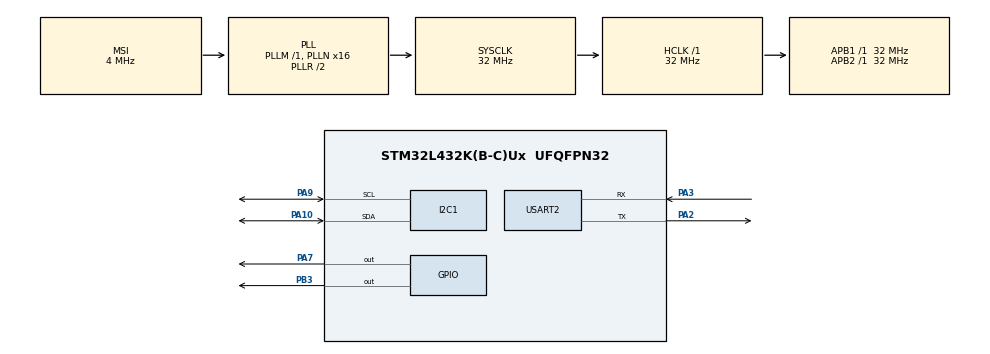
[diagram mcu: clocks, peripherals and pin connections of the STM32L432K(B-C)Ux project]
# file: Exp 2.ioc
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I2C1.Timing=0x00707CBB
Mcu.Family=STM32L4
Mcu.Name=STM32L432K(B-C)Ux
Mcu.Package=UFQFPN32
NVIC.PriorityGroup=NVIC_PRIORITYGROUP_4
PA10.Mode=I2C
PA10.Signal=I2C1_SDA
PA13\ (JTMS-SWDIO).Mode=Serial_Wire
PA13\ (JTMS-SWDIO).Signal=SYS_JTMS-SWDIO
PA14\ (JTCK-SWCLK).Mode=Serial_Wire
PA14\ (JTCK-SWCLK).Signal=SYS_JTCK-SWCLK
PA2.Mode=Asynchronous
PA2.Signal=USART2_TX
PA3.Mode=Asynchronous
PA3.Signal=USART2_RX
PA7.Signal=GPIO_Output
PA9.Mode=I2C
PA9.Signal=I2C1_SCL
PB3\ (JTDO-TRACESWO).Signal=GPIO_Output
PC14-OSC32_IN\ (PC14).Mode=LSE-External-Oscillator
PC14-OSC32_IN\ (PC14).Signal=RCC_OSC32_IN
PC15-OSC32_OUT\ (PC15).Mode=LSE-External-Oscillator
PC15-OSC32_OUT\ (PC15).Signal=RCC_OSC32_OUT
ProjectManager.HeapSize=0x200
ProjectManager.StackSize=0x400
ProjectManager.TargetToolchain=MDK-ARM V5
RCC.AHBFreq_Value=32000000
RCC.APB1Freq_Value=32000000
RCC.APB1TimFreq_Value=32000000
RCC.APB2Freq_Value=32000000
RCC.APB2TimFreq_Value=32000000
RCC.CortexFreq_Value=32000000
RCC.HCLKFreq_Value=32000000
RCC.HSE_VALUE=8000000
RCC.HSI48_VALUE=48000000
RCC.HSI_VALUE=16000000
RCC.MSI_VALUE=4000000
RCC.PLLN=16
RCC.SYSCLKFreq_VALUE=32000000
RCC.SYSCLKSource=RCC_SYSCLKSOURCE_PLLCLK
RCC.VCOOutputFreq_Value=64000000
USART2.VirtualMode-Asynchronous=VM_ASYNC
board=custom

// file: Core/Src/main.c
/* USER CODE BEGIN Header */
/**
  ******************************************************************************
  * @file           : main.c
  * @brief          : Main program body
  ******************************************************************************
  * @attention
  *
  * <h2><center>&copy; Copyright (c) 2021 STMicroelectronics.
  * All rights reserved.</center></h2>
  *
  * This software component is licensed by ST under BSD 3-Clause license,
  * the "License"; You may not use this file except in compliance with the
  * License. You may obtain a copy of the License at:
  *                        opensource.org/licenses/BSD-3-Clause
  *
  ******************************************************************************
  */
/* USER CODE END Header */
#include "main.h"

I2C_HandleTypeDef hi2c1;

UART_HandleTypeDef huart2;

void SystemClock_Config(void);
static void MX_GPIO_Init(void);
static void MX_I2C1_Init(void);
static void MX_USART2_UART_Init(void);

/* USER CODE BEGIN 0 */
uint8_t hexToAscii(uint8_t n)//4-bit hex value converted to an ascii character
{
 if (n>=0 && n<=9) n = n + '0';
 else n = n - 10 + 'A';
 return n;
}
/* USER CODE END 0 */
int main(void)
{
 HAL_Init();
 SystemClock_Config();
 MX_GPIO_Init();
 MX_I2C1_Init();
 MX_USART2_UART_Init();
 /* USER CODE BEGIN 2 */
 //check that device is ready to operate
 if (HAL_I2C_IsDeviceReady(&hi2c1, 0xD0, 10, HAL_MAX_DELAY) == HAL_OK)
 {
 for (int i = 1; i<=10;i++) // indicator of ready device
 {
 HAL_GPIO_TogglePin(GPIOB, GPIO_PIN_3);
 HAL_Delay(250);
 }
 }

 //Transmit via I2C to set clock
 uint8_t secbuffer [2], minbuffer [2], hourbuffer [2], alarmsecbuffer[2], alarmminbuffer[2], alarmhourbuffer[2], control[2], status[2];

 control[0] = 0x0E;
 control[1] = 0x1d;
 HAL_I2C_Master_Transmit(&hi2c1, 0xD0, control, 2, 10);

 status[0] = 0x0F;
 status[1] = 0x88;
 HAL_I2C_Master_Transmit(&hi2c1, 0xD0, status, 2, 10);

 // seconds
 secbuffer[0] = 0x00; //register address
 secbuffer[1] = 0x00; //data to put in register --> 0 sec
 HAL_I2C_Master_Transmit(&hi2c1, 0xD0, secbuffer, 2, 10);
 // minutes
 minbuffer[0] = 0x01; //register address
 minbuffer[1] = 0x45; //data to put in register --> 15 min
 HAL_I2C_Master_Transmit(&hi2c1, 0xD0, minbuffer, 2, 10);
 // hours
 hourbuffer[0] = 0x02; //register address
 hourbuffer[1] = 0x50; //data to put in register 01001001 --> 7 am
 HAL_I2C_Master_Transmit(&hi2c1, 0xD0, hourbuffer, 2, 10);
 //Receive via I2C and forward to UART

 alarmsecbuffer[0] = 0x07;
 alarmsecbuffer[1] = 0x00;
 HAL_I2C_Master_Transmit(&hi2c1, 0xD0, alarmsecbuffer, 2, 10);

 alarmminbuffer[0] = 0x08;
 alarmminbuffer[1] = 0x46;
 HAL_I2C_Master_Transmit(&hi2c1, 0xD0, alarmminbuffer, 2, 10);

 alarmhourbuffer[0] = 0x09;
 alarmhourbuffer[1] = 0x50;
 HAL_I2C_Master_Transmit(&hi2c1, 0xD0, alarmhourbuffer, 2, 10);

 uint8_t out[] = {0,0,':',0,0,':',0,0,'\r','\n'};
 while (1)
 {
 //send seconds register address 00h to read from
 HAL_I2C_Master_Transmit(&hi2c1, 0xD0, secbuffer, 1, 10);
 //read data of register 00h to secbuffer[1]
 HAL_I2C_Master_Receive(&hi2c1, 0xD1, secbuffer+1, 1, 10);
 //prepare UART output
 out[6] = hexToAscii(secbuffer[1] >> 4 );
 out[7] = hexToAscii(secbuffer[1] & 0x0F );
 HAL_I2C_Master_Transmit(&hi2c1, 0xD0, minbuffer, 1, 10);
 HAL_I2C_Master_Receive(&hi2c1, 0xD1, minbuffer+1, 1, 10);
 out[3] = hexToAscii(minbuffer[1] >> 4 );
 out[4] = hexToAscii(minbuffer[1] & 0x0F );
 HAL_I2C_Master_Transmit(&hi2c1, 0xD0, hourbuffer, 1, 10);
 HAL_I2C_Master_Receive(&hi2c1, 0xD1, hourbuffer+1, 1, 10);
 out[0] = hexToAscii((hourbuffer[1] >> 4) & 1);
 out[1] = hexToAscii(hourbuffer[1] & 0x0F);
 // transmit time to UART
 HAL_UART_Transmit(&huart2,out, sizeof(out), 10);
 HAL_Delay(1000);
 }
 /* USER CODE END 2 */
}

void SystemClock_Config(void)
{
  RCC_OscInitTypeDef RCC_OscInitStruct = {0};
  RCC_ClkInitTypeDef RCC_ClkInitStruct = {0};
  RCC_PeriphCLKInitTypeDef PeriphClkInit = {0};

  /** Configure LSE Drive Capability
  */
  HAL_PWR_EnableBkUpAccess();
  __HAL_RCC_LSEDRIVE_CONFIG(RCC_LSEDRIVE_LOW);
  /** Initializes the RCC Oscillators according to the specified parameters
  * in the RCC_OscInitTypeDef structure.
  */
  RCC_OscInitStruct.OscillatorType = RCC_OSCILLATORTYPE_LSE|RCC_OSCILLATORTYPE_MSI;
  RCC_OscInitStruct.LSEState = RCC_LSE_ON;
  RCC_OscInitStruct.MSIState = RCC_MSI_ON;
  RCC_OscInitStruct.MSICalibrationValue = 0;
  RCC_OscInitStruct.MSIClockRange = RCC_MSIRANGE_6;
  RCC_OscInitStruct.PLL.PLLState = RCC_PLL_ON;
  RCC_OscInitStruct.PLL.PLLSource = RCC_PLLSOURCE_MSI;
  RCC_OscInitStruct.PLL.PLLM = 1;
  RCC_OscInitStruct.PLL.PLLN = 16;
  RCC_OscInitStruct.PLL.PLLP = RCC_PLLP_DIV7;
  RCC_OscInitStruct.PLL.PLLQ = RCC_PLLQ_DIV2;
  RCC_OscInitStruct.PLL.PLLR = RCC_PLLR_DIV2;
  if (HAL_RCC_OscConfig(&RCC_OscInitStruct) != HAL_OK)
  {
    Error_Handler();
  }
  /** Initializes the CPU, AHB and APB buses clocks
  */
  RCC_ClkInitStruct.ClockType = RCC_CLOCKTYPE_HCLK|RCC_CLOCKTYPE_SYSCLK
                              |RCC_CLOCKTYPE_PCLK1|RCC_CLOCKTYPE_PCLK2;
  RCC_ClkInitStruct.SYSCLKSource = RCC_SYSCLKSOURCE_PLLCLK;
  RCC_ClkInitStruct.AHBCLKDivider = RCC_SYSCLK_DIV1;
  RCC_ClkInitStruct.APB1CLKDivider = RCC_HCLK_DIV1;
  RCC_ClkInitStruct.APB2CLKDivider = RCC_HCLK_DIV1;

  if (HAL_RCC_ClockConfig(&RCC_ClkInitStruct, FLASH_LATENCY_1) != HAL_OK)
  {
    Error_Handler();
  }
  PeriphClkInit.PeriphClockSelection = RCC_PERIPHCLK_USART2|RCC_PERIPHCLK_I2C1;
  PeriphClkInit.Usart2ClockSelection = RCC_USART2CLKSOURCE_PCLK1;
  PeriphClkInit.I2c1ClockSelection = RCC_I2C1CLKSOURCE_PCLK1;
  if (HAL_RCCEx_PeriphCLKConfig(&PeriphClkInit) != HAL_OK)
  {
    Error_Handler();
  }
  /** Configure the main internal regulator output voltage
  */
  if (HAL_PWREx_ControlVoltageScaling(PWR_REGULATOR_VOLTAGE_SCALE1) != HAL_OK)
  {
    Error_Handler();
  }
  /** Enable MSI Auto calibration
  */
  HAL_RCCEx_EnableMSIPLLMode();
}

static void MX_I2C1_Init(void)
{

  hi2c1.Instance = I2C1;
  hi2c1.Init.Timing = 0x00707CBB;
  hi2c1.Init.OwnAddress1 = 0;
  hi2c1.Init.AddressingMode = I2C_ADDRESSINGMODE_7BIT;
  hi2c1.Init.DualAddressMode = I2C_DUALADDRESS_DISABLE;
  hi2c1.Init.OwnAddress2 = 0;
  hi2c1.Init.OwnAddress2Masks = I2C_OA2_NOMASK;
  hi2c1.Init.GeneralCallMode = I2C_GENERALCALL_DISABLE;
  hi2c1.Init.NoStretchMode = I2C_NOSTRETCH_DISABLE;
  if (HAL_I2C_Init(&hi2c1) != HAL_OK)
  {
    Error_Handler();
  }
  /** Configure Analogue filter
  */
  if (HAL_I2CEx_ConfigAnalogFilter(&hi2c1, I2C_ANALOGFILTER_ENABLE) != HAL_OK)
  {
    Error_Handler();
  }
  /** Configure Digital filter
  */
  if (HAL_I2CEx_ConfigDigitalFilter(&hi2c1, 0) != HAL_OK)
  {
    Error_Handler();
  }

}

static void MX_USART2_UART_Init(void)
{

  huart2.Instance = USART2;
  huart2.Init.BaudRate = 115200;
  huart2.Init.WordLength = UART_WORDLENGTH_8B;
  huart2.Init.StopBits = UART_STOPBITS_1;
  huart2.Init.Parity = UART_PARITY_NONE;
  huart2.Init.Mode = UART_MODE_TX_RX;
  huart2.Init.HwFlowCtl = UART_HWCONTROL_NONE;
  huart2.Init.OverSampling = UART_OVERSAMPLING_16;
  huart2.Init.OneBitSampling = UART_ONE_BIT_SAMPLE_DISABLE;
  huart2.AdvancedInit.AdvFeatureInit = UART_ADVFEATURE_NO_INIT;
  if (HAL_UART_Init(&huart2) != HAL_OK)
  {
    Error_Handler();
  }

}

static void MX_GPIO_Init(void)
{
  GPIO_InitTypeDef GPIO_InitStruct = {0};

  /* GPIO Ports Clock Enable */
  __HAL_RCC_GPIOC_CLK_ENABLE();
  __HAL_RCC_GPIOA_CLK_ENABLE();
  __HAL_RCC_GPIOB_CLK_ENABLE();

  /*Configure GPIO pin Output Level */
  HAL_GPIO_WritePin(GPIOA, GPIO_PIN_7, GPIO_PIN_RESET);

  /*Configure GPIO pin Output Level */
  HAL_GPIO_WritePin(GPIOB, GPIO_PIN_3, GPIO_PIN_RESET);

  /*Configure GPIO pin : PA7 */
  GPIO_InitStruct.Pin = GPIO_PIN_7;
  GPIO_InitStruct.Mode = GPIO_MODE_OUTPUT_PP;
  GPIO_InitStruct.Pull = GPIO_NOPULL;
  GPIO_InitStruct.Speed = GPIO_SPEED_FREQ_LOW;
  HAL_GPIO_Init(GPIOA, &GPIO_InitStruct);

  /*Configure GPIO pin : PB3 */
  GPIO_InitStruct.Pin = GPIO_PIN_3;
  GPIO_InitStruct.Mode = GPIO_MODE_OUTPUT_PP;
  GPIO_InitStruct.Pull = GPIO_NOPULL;
  GPIO_InitStruct.Speed = GPIO_SPEED_FREQ_LOW;
  HAL_GPIO_Init(GPIOB, &GPIO_InitStruct);

}

void Error_Handler(void)
{
  __disable_irq();
  while (1)
  {
  }
}

/************************ (C) COPYRIGHT STMicroelectronics *****END OF FILE****/
